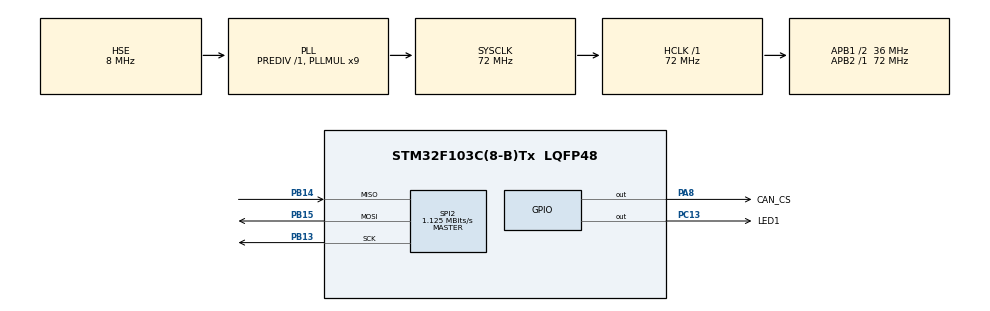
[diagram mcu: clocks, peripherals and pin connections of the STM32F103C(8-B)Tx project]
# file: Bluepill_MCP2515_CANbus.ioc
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Mcu.Family=STM32F1
Mcu.Name=STM32F103C(8-B)Tx
Mcu.Package=LQFP48
NVIC.PriorityGroup=NVIC_PRIORITYGROUP_4
PA13.Mode=Serial_Wire
PA13.Signal=SYS_JTMS-SWDIO
PA14.Mode=Serial_Wire
PA14.Signal=SYS_JTCK-SWCLK
PA8.GPIO_Label=CAN_CS
PA8.Signal=GPIO_Output
PB13.Mode=Full_Duplex_Master
PB13.Signal=SPI2_SCK
PB14.Mode=Full_Duplex_Master
PB14.Signal=SPI2_MISO
PB15.Mode=Full_Duplex_Master
PB15.Signal=SPI2_MOSI
PC13-TAMPER-RTC.GPIO_Label=LED1
PC13-TAMPER-RTC.Signal=GPIO_Output
PC14-OSC32_IN.Mode=LSE-External-Oscillator
PC14-OSC32_IN.Signal=RCC_OSC32_IN
PC15-OSC32_OUT.Mode=LSE-External-Oscillator
PC15-OSC32_OUT.Signal=RCC_OSC32_OUT
PD0-OSC_IN.Mode=HSE-External-Oscillator
PD0-OSC_IN.Signal=RCC_OSC_IN
PD1-OSC_OUT.Mode=HSE-External-Oscillator
PD1-OSC_OUT.Signal=RCC_OSC_OUT
ProjectManager.HeapSize=0x200
ProjectManager.StackSize=0x400
ProjectManager.TargetToolchain=STM32CubeIDE
RCC.AHBFreq_Value=72000000
RCC.APB1CLKDivider=RCC_HCLK_DIV2
RCC.APB1Freq_Value=36000000
RCC.APB1TimFreq_Value=72000000
RCC.APB2Freq_Value=72000000
RCC.APB2TimFreq_Value=72000000
RCC.HCLKFreq_Value=72000000
RCC.PLLMUL=RCC_PLL_MUL9
RCC.PLLSourceVirtual=RCC_PLLSOURCE_HSE
RCC.SYSCLKFreq_VALUE=72000000
RCC.SYSCLKSource=RCC_SYSCLKSOURCE_PLLCLK
RCC.USBFreq_Value=72000000
SPI2.BaudRatePrescaler=SPI_BAUDRATEPRESCALER_32
SPI2.CalculateBaudRate=1.125 MBits/s
SPI2.Direction=SPI_DIRECTION_2LINES
SPI2.Mode=SPI_MODE_MASTER
SPI2.VirtualType=VM_MASTER
board=custom

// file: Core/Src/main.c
/* USER CODE BEGIN Header */
/**
  ******************************************************************************
  * @file           : main.c
  * @brief          : Main program body
  ******************************************************************************
  * @attention
  *
  * Copyright (c) 2023 STMicroelectronics.
  * All rights reserved.
  *
  * This software is licensed under terms that can be found in the LICENSE file
  * in the root directory of this software component.
  * If no LICENSE file comes with this software, it is provided AS-IS.
  *
  ******************************************************************************
  */
/* USER CODE END Header */
#include "main.h"
#include "spi.h"
#include "gpio.h"

/* USER CODE BEGIN Includes */
#include "MCP2515.h"
#include "stdbool.h"
/* USER CODE END Includes */

void SystemClock_Config(void);

/* USER CODE BEGIN PFP */
void get_CANSTAT_data();
void MCP2515_set_CNF_reg();
void MCP2515_get_CNF_reg();
/* USER CODE END PFP */

int main(void)
{

  /* MCU Configuration--------------------------------------------------------*/

  /* Reset of all peripherals, Initializes the Flash interface and the Systick. */
  HAL_Init();

  /* Configure the system clock */
  SystemClock_Config();

  /* Initialize all configured peripherals */
  MX_GPIO_Init();
  MX_SPI2_Init();

  /* Infinite loop */
  /* USER CODE BEGIN WHILE */

	MCP2515_init(&hspi2, GPIOA, GPIO_PIN_8);
	HAL_Delay(1000);

	while (1)
	{

    /* USER CODE END WHILE */

    /* USER CODE BEGIN 3 */

//		MCP2515_get_read_status(&read_status);
//		MCP2515_get_rx_status(&rx_status);
		get_CANSTAT_data();
		get_MCP2515_canstat_data();
		MCP2515_set_config_mode();
		MCP2515_set_normal_mode();

		HAL_GPIO_WritePin(LED1_GPIO_Port, LED1_Pin, GPIO_PIN_RESET);
		HAL_Delay(50);
		HAL_GPIO_WritePin(LED1_GPIO_Port, LED1_Pin, GPIO_PIN_SET);
		HAL_Delay(1000);

  }
  /* USER CODE END 3 */
}

void SystemClock_Config(void)
{
  RCC_OscInitTypeDef RCC_OscInitStruct = {0};
  RCC_ClkInitTypeDef RCC_ClkInitStruct = {0};

  /** Initializes the RCC Oscillators according to the specified parameters
  * in the RCC_OscInitTypeDef structure.
  */
  RCC_OscInitStruct.OscillatorType = RCC_OSCILLATORTYPE_HSE;
  RCC_OscInitStruct.HSEState = RCC_HSE_ON;
  RCC_OscInitStruct.HSEPredivValue = RCC_HSE_PREDIV_DIV1;
  RCC_OscInitStruct.HSIState = RCC_HSI_ON;
  RCC_OscInitStruct.PLL.PLLState = RCC_PLL_ON;
  RCC_OscInitStruct.PLL.PLLSource = RCC_PLLSOURCE_HSE;
  RCC_OscInitStruct.PLL.PLLMUL = RCC_PLL_MUL9;
  if (HAL_RCC_OscConfig(&RCC_OscInitStruct) != HAL_OK)
  {
    Error_Handler();
  }

  /** Initializes the CPU, AHB and APB buses clocks
  */
  RCC_ClkInitStruct.ClockType = RCC_CLOCKTYPE_HCLK|RCC_CLOCKTYPE_SYSCLK
                              |RCC_CLOCKTYPE_PCLK1|RCC_CLOCKTYPE_PCLK2;
  RCC_ClkInitStruct.SYSCLKSource = RCC_SYSCLKSOURCE_PLLCLK;
  RCC_ClkInitStruct.AHBCLKDivider = RCC_SYSCLK_DIV1;
  RCC_ClkInitStruct.APB1CLKDivider = RCC_HCLK_DIV2;
  RCC_ClkInitStruct.APB2CLKDivider = RCC_HCLK_DIV1;

  if (HAL_RCC_ClockConfig(&RCC_ClkInitStruct, FLASH_LATENCY_2) != HAL_OK)
  {
    Error_Handler();
  }
}

/* USER CODE BEGIN 4 */

HAL_StatusTypeDef MCP2515_write_registers(uint8_t address, uint16_t length, uint8_t bytes[])
{
	HAL_StatusTypeDef ret;
	uint8_t tx_buf[20];

	tx_buf[0] = MCP2515_CAN_WRITE;
	tx_buf[1] = address;

	for(int i=0; i<(int)length; i++)
	{
		tx_buf[2+i] = bytes[i];
	}

	HAL_GPIO_WritePin(GPIOA, GPIO_PIN_8, GPIO_PIN_RESET);
	ret = HAL_SPI_Transmit(&hspi2, tx_buf, length+2, HAL_MAX_DELAY);
	HAL_GPIO_WritePin(GPIOA, GPIO_PIN_8, GPIO_PIN_RESET);

	return ret;
}

HAL_StatusTypeDef MCP2515_read_registers(uint8_t address, uint16_t length, uint8_t buf[])
{
	HAL_StatusTypeDef ret;
	uint8_t tx_buf[20] = {0x00};
	uint8_t rx_buf[20] = {0x00};

	tx_buf[0] = MCP2515_CAN_READ;
	tx_buf[1] = address;

	HAL_GPIO_WritePin(GPIOA, GPIO_PIN_8, GPIO_PIN_RESET);
	ret = HAL_SPI_TransmitReceive(&hspi2, tx_buf, rx_buf, length+2, HAL_MAX_DELAY);
	HAL_GPIO_WritePin(GPIOA, GPIO_PIN_8, GPIO_PIN_RESET);

	for(int i=0;i<length;i++)
	{
		buf[i] = rx_buf[i+2];
	}

	return ret;
}

void get_CANSTAT_data()
{
	  uint8_t tx_buf[10] = {0x00};
	  uint8_t rx_buf[10] = {0x00};

	  tx_buf[0] = MCP2515_CAN_READ;
	  tx_buf[1] = MCP2515_CANSTAT;

	  HAL_GPIO_WritePin(GPIOA, GPIO_PIN_8, GPIO_PIN_RESET);
	  HAL_SPI_TransmitReceive(&hspi2, tx_buf, rx_buf, 10, 100);
	  HAL_GPIO_WritePin(GPIOA, GPIO_PIN_8, GPIO_PIN_SET);

	  return;
}

void MCP2515_get_CNF_reg()
{
	uint8_t buf[3] = {0x00};
	MCP2515_read_registers(MCP2515_CNF3, 3, buf);

	return;
}

void MCP2515_set_CNF_reg()
{
	uint8_t bytes[3] = {0x00};
	bytes[0] = 1;
	bytes[1] = 2;
	bytes[2] = 3;

	MCP2515_write_registers(MCP2515_CNF3, 3, bytes);

	return;
}

/* USER CODE END 4 */

void Error_Handler(void)
{
  __disable_irq();
  while (1)
  {
  }
}
